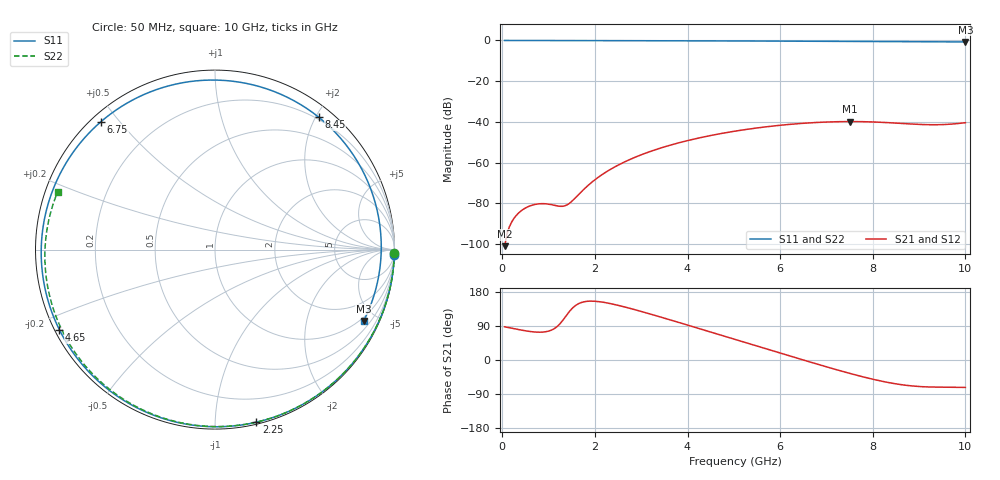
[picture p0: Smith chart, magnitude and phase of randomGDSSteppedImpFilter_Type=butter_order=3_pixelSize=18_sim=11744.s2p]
! freq	dB(S11)	phase(S11)	dB(S12)	phase(S12)
!  dB(S21)	phase(S21)	dB(S22)	phase(S22)
!S-par simulation data
#  GHz  S  DB  R 50
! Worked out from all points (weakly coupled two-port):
!   200 points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, 50 MHz to 10 GHz, reference 50 ohm
!   highest |S21| = -39.80 dB at 7.5 GHz (marker M1); lowest = -101.0 dB at 50 MHz (marker M2)
!   lowest |S11| = -0.7 dB at 10 GHz (marker M3), VSWR 23.61, Z = 41.6 - j212 ohm
!   |S11| at or under -10 dB: nowhere
!   |S22| runs from -0.6 to 0.0 dB; largest |S21 - S12| = 0
!   S11 on the Smith chart (normalised r, x): 50 MHz: 1, -64; 2.25 GHz: 0.01, -1.27; 4.65 GHz: 0.01, -0.24; 6.75 GHz: 0.03, +0.45; 8.45 GHz: 0.17, +2.04; 10 GHz: 0.83, -4.24
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0.05  -0.00 -1.8  -100.95 87.6  -100.95 87.6  -0.00 -1.2
0.7  -0.03 -24.5  -80.51 73.9  -80.51 73.9  -0.02 -16.5
1.45  -0.06 -50.1  -79.94 128.1  -79.94 128.1  -0.04 -33.8
1.75  -0.08 -60.1  -73.29 153.1  -73.29 153.1  -0.05 -40.6
2.25  -0.10 -76.5  -64.44 150.9  -64.44 150.9  -0.07 -51.8
2.8  -0.12 -94.2  -57.97 134.9  -57.97 134.9  -0.08 -63.7
3.4  -0.15 -113.2  -52.93 114.0  -52.93 114.0  -0.10 -76.3
4  -0.18 -132.0  -49.15 92.2  -49.15 92.2  -0.12 -88.4
4.65  -0.22 -152.7  -45.99 68.2  -45.99 68.2  -0.15 -101.2
5.05  -0.25 -165.8  -44.42 53.4  -44.42 53.4  -0.16 -108.8
5.9  -0.32 164.7  -41.86 22.0  -41.86 22.0  -0.21 -124.6
6.3  -0.36 149.7  -41.00 7.3  -41.00 7.3  -0.24 -131.9
6.7  -0.40 133.7  -40.36 -7.3  -40.36 -7.3  -0.26 -139.1
6.75  -0.40 131.7  -40.30 -9.1  -40.30 -9.1  -0.27 -140.0
7.5  -0.48 98.6  -39.80 -35.2  -39.80 -35.2  -0.33 -153.4
7.95  -0.52 77.1  -39.96 -49.3  -39.96 -49.3  -0.37 -161.5
8.35  -0.56 57.0  -40.36 -59.7  -40.36 -59.7  -0.41 -168.8
8.45  -0.57 51.9  -40.49 -61.9  -40.49 -61.9  -0.42 -170.6
8.85  -0.60 31.4  -41.03 -68.5  -41.03 -68.5  -0.46 -178.0
9.25  -0.64 10.9  -41.36 -71.3  -41.36 -71.3  -0.51 174.4
9.6  -0.68 -6.5  -41.19 -71.7  -41.19 -71.7  -0.55 167.7
10  -0.74 -25.6  -40.37 -72.4  -40.37 -72.4  -0.59 159.8
